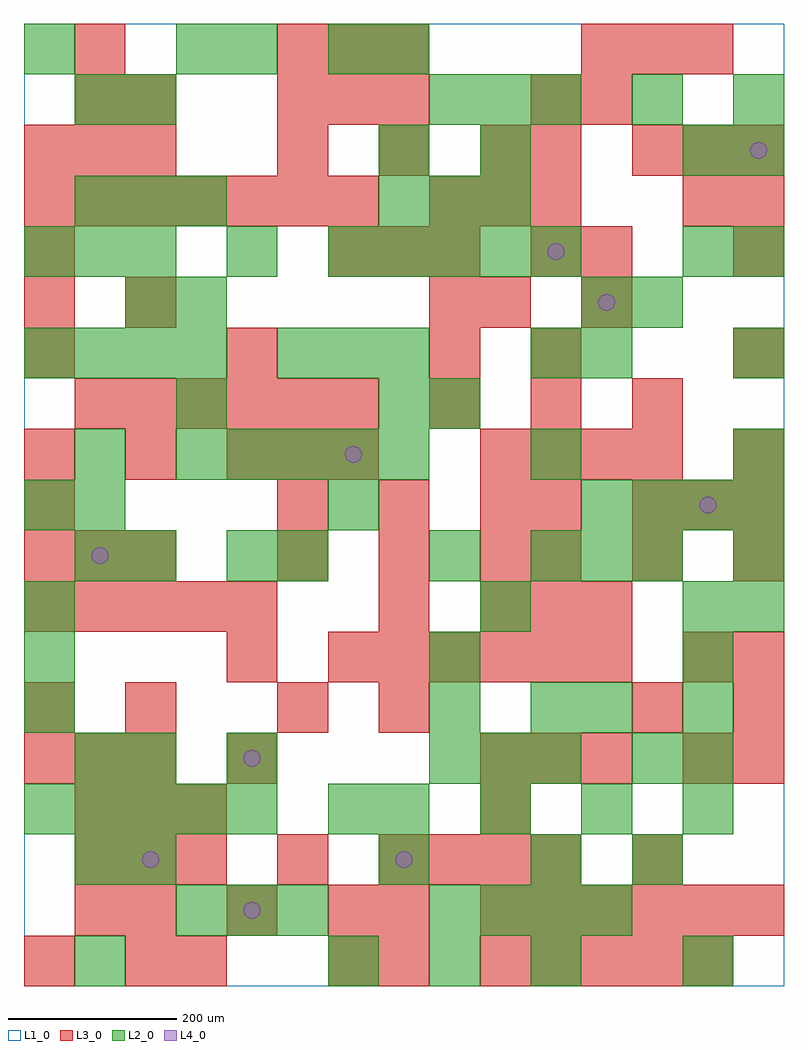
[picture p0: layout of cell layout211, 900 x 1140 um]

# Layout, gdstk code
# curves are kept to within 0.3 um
import gdstk
lib = gdstk.Library(unit=1e-6, precision=1e-09)
def R(c, l, rs):  # rectangles x0, y0, x1, y1
    for r in rs: c.add(gdstk.rectangle(r[:2], r[2:], *l))
def A(c, l, x, y, w, h, nx, ny, dx, dy):  # array of equal rectangles
    R(c, l, [(x+i*dx, y+j*dy, x+i*dx+w, y+j*dy+h) for i in range(nx) for j in range(ny)])
def P(c, l, *ps):  # polygons
    for p in ps: c.add(gdstk.Polygon(p, *l))
L1_0 = (1, 0)
L2_0 = (2, 0)
L3_0 = (3, 0)
L4_0 = (4, 0)

layout211 = lib.new_cell('layout211')
R(layout211, L1_0, [(0,0,900,1140)])
A(layout211, L2_0, 60, 0, 60, 60, 1, 3, 0, 120)
A(layout211, L2_0, 360, 0, 60, 60, 3, 1, 120, 0)
A(layout211, L2_0, 180, 60, 60, 60, 3, 1, 60, 0)
A(layout211, L2_0, 480, 60, 60, 60, 4, 1, 60, 0)
A(layout211, L2_0, 0, 180, 60, 60, 5, 1, 60, 0)
A(layout211, L2_0, 420, 180, 60, 60, 4, 1, 120, 0)
A(layout211, L2_0, 480, 240, 60, 60, 3, 2, 60, 780)
A(layout211, L2_0, 780, 240, 60, 60, 1, 4, 0, 60)
A(layout211, L2_0, 0, 300, 60, 60, 1, 3, 0, 60)
A(layout211, L2_0, 600, 480, 60, 60, 3, 1, 60, 0)
A(layout211, L2_0, 840, 480, 60, 60, 1, 5, 0, 120)
A(layout211, L2_0, 60, 540, 60, 60, 3, 1, 300, 0)
A(layout211, L2_0, 720, 540, 60, 60, 3, 1, 60, 0)
A(layout211, L2_0, 180, 600, 60, 60, 5, 1, 60, 0)
A(layout211, L2_0, 0, 720, 60, 60, 4, 1, 60, 0)
A(layout211, L2_0, 300, 720, 60, 60, 3, 1, 60, 0)
A(layout211, L2_0, 0, 840, 60, 60, 3, 1, 60, 0)
A(layout211, L2_0, 360, 840, 60, 60, 5, 1, 60, 0)
A(layout211, L2_0, 60, 900, 60, 60, 3, 1, 60, 0)
A(layout211, L2_0, 420, 900, 60, 60, 3, 1, 60, 0)
R(layout211, L2_0, [(780,0,840,60), (120,120,180,180), (420,120,480,180), (600,120,660,180), (720,120,780,180), (360,180,420,240), (120,240,180,300), (240,240,300,300), (720,240,780,300), (480,300,540,360), (600,300,660,360), (660,300,720,360), (480,360,540,420), (540,420,600,480), (840,420,900,480), (60,480,120,540), (120,480,180,540), (240,480,300,540), (300,480,360,540), (480,480,540,540), (0,540,60,600), (60,600,120,660), (600,600,660,660), (180,660,240,720), (420,660,480,720), (480,660,540,720), (600,720,660,780), (660,720,720,780), (120,780,180,840), (180,780,240,840), (660,780,720,840), (720,780,780,840), (240,840,300,900), (780,840,840,900), (420,960,480,1020), (540,960,600,1020), (780,960,840,1020), (60,1020,120,1080), (120,1020,180,1080), (720,1020,780,1080), (840,1020,900,1080), (0,1080,60,1140), (180,1080,240,1140), (240,1080,300,1140), (360,1080,420,1140), (420,1080,480,1140)])
A(layout211, L3_0, 540, 0, 60, 60, 5, 1, 60, 0)
A(layout211, L3_0, 120, 60, 60, 60, 3, 1, 120, 0)
A(layout211, L3_0, 540, 60, 60, 60, 6, 1, 60, 0)
A(layout211, L3_0, 60, 120, 60, 60, 3, 2, 60, 60)
A(layout211, L3_0, 420, 120, 60, 60, 4, 1, 60, 0)
A(layout211, L3_0, 0, 240, 60, 60, 3, 2, 60, 240)
A(layout211, L3_0, 540, 240, 60, 60, 3, 2, 60, 180)
A(layout211, L3_0, 840, 240, 60, 60, 1, 3, 0, 60)
A(layout211, L3_0, 0, 300, 60, 60, 1, 3, 0, 240)
A(layout211, L3_0, 360, 360, 60, 60, 6, 1, 60, 0)
A(layout211, L3_0, 0, 420, 60, 60, 5, 1, 60, 0)
A(layout211, L3_0, 300, 480, 60, 60, 3, 2, 120, 60)
A(layout211, L3_0, 600, 480, 60, 60, 3, 1, 120, 0)
A(layout211, L3_0, 720, 540, 60, 60, 3, 2, 60, 420)
A(layout211, L3_0, 0, 600, 60, 60, 3, 1, 120, 0)
A(layout211, L3_0, 540, 600, 60, 60, 4, 1, 60, 0)
A(layout211, L3_0, 840, 600, 60, 60, 1, 3, 0, 120)
A(layout211, L3_0, 60, 660, 60, 60, 6, 1, 60, 0)
A(layout211, L3_0, 480, 660, 60, 60, 3, 1, 120, 0)
A(layout211, L3_0, 0, 720, 60, 60, 3, 1, 240, 0)
A(layout211, L3_0, 600, 720, 60, 60, 1, 3, 0, 120)
A(layout211, L3_0, 360, 840, 60, 60, 3, 1, 60, 0)
A(layout211, L3_0, 0, 900, 60, 60, 7, 1, 60, 0)
A(layout211, L3_0, 480, 900, 60, 60, 3, 1, 60, 0)
A(layout211, L3_0, 0, 960, 60, 60, 3, 1, 60, 0)
A(layout211, L3_0, 300, 960, 60, 60, 3, 1, 120, 0)
A(layout211, L3_0, 300, 1020, 60, 60, 3, 2, 60, 60)
A(layout211, L3_0, 660, 1080, 60, 60, 3, 1, 60, 0)
R(layout211, L3_0, [(0,0,60,60), (120,0,180,60), (180,0,240,60), (360,0,420,60), (420,0,480,60), (60,60,120,120), (420,60,480,120), (300,120,360,180), (720,120,780,180), (540,180,600,240), (240,240,300,300), (780,240,840,300), (120,300,180,360), (300,300,360,360), (420,300,480,360), (720,300,780,360), (240,360,300,420), (780,360,840,420), (420,420,480,480), (600,540,660,600), (300,600,360,660), (360,600,420,660), (120,780,180,840), (480,780,540,840), (540,780,600,840), (660,780,720,840), (0,840,60,900), (660,840,720,900), (780,900,840,960), (840,900,900,960), (60,1020,120,1080), (120,1020,180,1080), (600,1020,660,1080), (660,1020,720,1080), (60,1080,120,1140)])
P(layout211, L4_0, [(100,510),(99.239,513.827),(97.071,517.071),(93.827,519.239),(90,520),(86.173,519.239),(82.929,517.071),(80.761,513.827),(80,510),(80.761,506.173),(82.929,502.929),(86.173,500.761),(90,500),(93.827,500.761),(97.071,502.929),(99.239,506.173)],
  [(160,150),(159.239,153.827),(157.071,157.071),(153.827,159.239),(150,160),(146.173,159.239),(142.929,157.071),(140.761,153.827),(140,150),(140.761,146.173),(142.929,142.929),(146.173,140.761),(150,140),(153.827,140.761),(157.071,142.929),(159.239,146.173)],
  [(280,90),(279.239,93.827),(277.071,97.071),(273.827,99.239),(270,100),(266.173,99.239),(262.929,97.071),(260.761,93.827),(260,90),(260.761,86.173),(262.929,82.929),(266.173,80.761),(270,80),(273.827,80.761),(277.071,82.929),(279.239,86.173)],
  [(280,270),(279.239,273.827),(277.071,277.071),(273.827,279.239),(270,280),(266.173,279.239),(262.929,277.071),(260.761,273.827),(260,270),(260.761,266.173),(262.929,262.929),(266.173,260.761),(270,260),(273.827,260.761),(277.071,262.929),(279.239,266.173)],
  [(400,630),(399.239,633.827),(397.071,637.071),(393.827,639.239),(390,640),(386.173,639.239),(382.929,637.071),(380.761,633.827),(380,630),(380.761,626.173),(382.929,622.929),(386.173,620.761),(390,620),(393.827,620.761),(397.071,622.929),(399.239,626.173)],
  [(460,150),(459.239,153.827),(457.071,157.071),(453.827,159.239),(450,160),(446.173,159.239),(442.929,157.071),(440.761,153.827),(440,150),(440.761,146.173),(442.929,142.929),(446.173,140.761),(450,140),(453.827,140.761),(457.071,142.929),(459.239,146.173)],
  [(640,870),(639.239,873.827),(637.071,877.071),(633.827,879.239),(630,880),(626.173,879.239),(622.929,877.071),(620.761,873.827),(620,870),(620.761,866.173),(622.929,862.929),(626.173,860.761),(630,860),(633.827,860.761),(637.071,862.929),(639.239,866.173)],
  [(700,810),(699.239,813.827),(697.071,817.071),(693.827,819.239),(690,820),(686.173,819.239),(682.929,817.071),(680.761,813.827),(680,810),(680.761,806.173),(682.929,802.929),(686.173,800.761),(690,800),(693.827,800.761),(697.071,802.929),(699.239,806.173)],
  [(820,570),(819.239,573.827),(817.071,577.071),(813.827,579.239),(810,580),(806.173,579.239),(802.929,577.071),(800.761,573.827),(800,570),(800.761,566.173),(802.929,562.929),(806.173,560.761),(810,560),(813.827,560.761),(817.071,562.929),(819.239,566.173)],
  [(880,990),(879.239,993.827),(877.071,997.071),(873.827,999.239),(870,1000),(866.173,999.239),(862.929,997.071),(860.761,993.827),(860,990),(860.761,986.173),(862.929,982.929),(866.173,980.761),(870,980),(873.827,980.761),(877.071,982.929),(879.239,986.173)])

lib.write_gds('layout211.gds')
